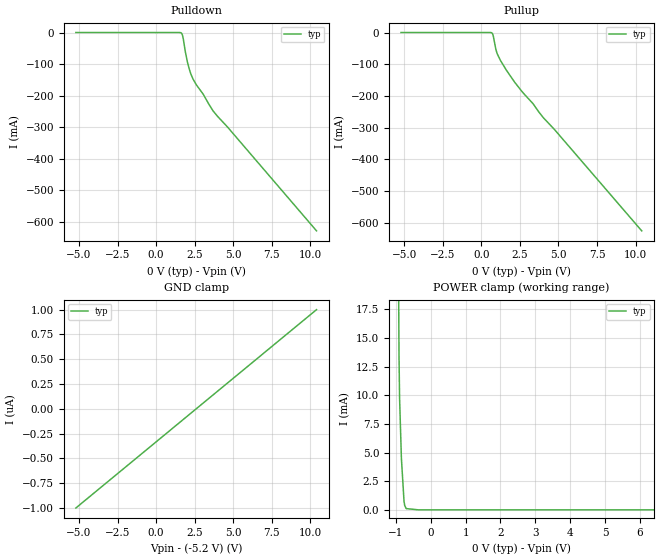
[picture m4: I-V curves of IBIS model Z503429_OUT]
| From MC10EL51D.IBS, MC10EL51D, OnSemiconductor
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| (C) COPYRIGHT 1993-2000
| MENTOR GRAPHICS CORPORATION
| ICX STANDARD LIBRARY, ICX PROJECT MODELING,
| ICX CUSTOM MODELING, ICX VENDOR MODEL
| ALL RIGHTS RESERVED.
| THE FOLLOWING ARE TRADEMARKS OR SERVICE MARKS OF
| MENTOR GRAPHICS CORPORATION:ICX (R), ICX STANDARD
| LIBRARY(R), ICX PROJECT MODELING(R), ICX CUSTOM
| MODELING(R), qualityIBIS(TM), MODELVIEWER(TM),
| AND MODELEDITOR(TM)
| ALL COPIES OF SOFTWARE, INCLUDING BUT NOT LIMITED TO
| ANY MODIFICATIONS, ENHANCEMENTS OR DERIVATIVE WORKS,
| MUST CONTAIN ALL MENTOR GRAPHICS CORPORATION'S
| NOTICES AND LEGENDS, INCLUDING THOSE EMBEDDED IN
| SOFTWARE AND THOSE AFFIXED TO SOFTWARE MEDIUM
| AND CONTAINER, AS RECEIVED FROM MENTOR GRAPHICS
| CORPORATION.
| Model Application Version 1.89 2/18/99.
[Model] Z503429_OUT
Model_type Output_ECL
Vref=-2.000V
Rref=50.00ohms
Cref=0.000F
Vmeas=-1.305V
C_comp 8.000pF NA NA
| variable typ   min   max
[Voltage Range] -5.200V NA NA
[POWER Clamp Reference] 0.000V NA NA
[Pullup Reference] 0.000V NA NA
[Pulldown Reference] 0.000V NA NA
[GND Clamp Reference] -5.200V NA NA
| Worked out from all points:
|   POWER clamp passes 1 mA (typ) near -0.77 V on its own axis
[GND Clamp]
-5.2V     -1uA       NA         NA
10.4V     1uA        NA         NA
[Pulldown]
-5.2V     111.3uA    NA         NA
1.66V     -2.611mA   NA         NA
1.713V    -8.822mA   NA         NA
1.763V    -19.94mA   NA         NA
1.894V    -60.4mA    NA         NA
2.036V    -94.7mA    NA         NA
2.256V    -131.6mA   NA         NA
2.399V    -147.9mA   NA         NA
2.617V    -166.1mA   NA         NA
3.05V     -195mA     NA         NA
3.687V    -247.9mA   NA         NA
10.4V     -628.3mA   NA         NA
[Pullup]
-5.2V     87.76uA    NA         NA
702.9mV   -1.88mA    NA         NA
776.3mV   -10.4mA    NA         NA
947.3mV   -53.47mA   NA         NA
1.03V     -66.72mA   NA         NA
1.245V    -88.24mA   NA         NA
1.632V    -119.2mA   NA         NA
2.169V    -157.2mA   NA         NA
3.354V    -224.6mA   NA         NA
4.043V    -270mA     NA         NA
4.722V    -305mA     NA         NA
10.4V     -626.3mA   NA         NA
[POWER Clamp]
-5.2V     1.493A     NA         NA
-1.197V   153.1mA    NA         NA
-1.09V    108.9mA    NA         NA
-913.2mV  13.56mA    NA         NA
-896.8mV  9.8mA      NA         NA
-844.3mV  4.495mA    NA         NA
-769.3mV  760.1uA    NA         NA
-750.4mV  386.1uA    NA         NA
-707.5mV  108.8uA    NA         NA
-353.7mV  0A         NA         NA
10.4V     0A         NA         NA
[Ramp]
| variable typ min max
dV/dt_r 517.5m/739.2p NA NA
dV/dt_f 517.5m/640.2p NA NA
R_load = 50.00Ohms
